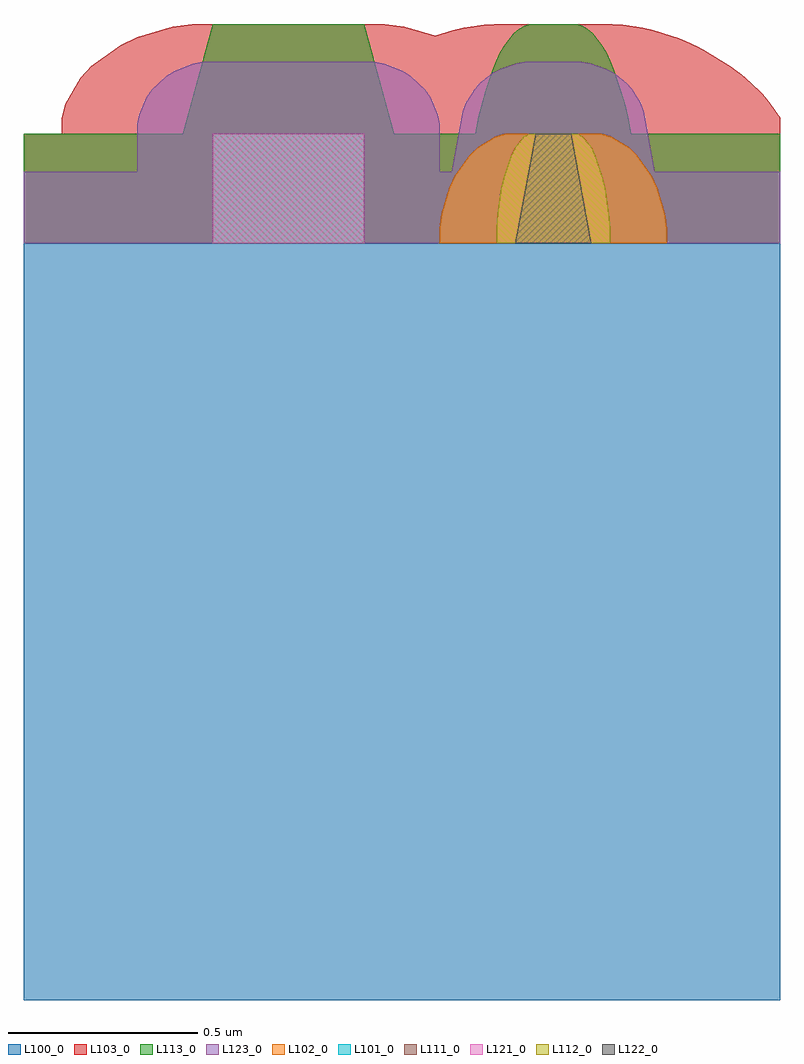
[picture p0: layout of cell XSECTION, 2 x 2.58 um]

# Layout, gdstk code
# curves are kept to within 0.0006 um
import gdstk
lib = gdstk.Library(unit=1e-6, precision=1e-09)
def R(c, l, rs):  # rectangles x0, y0, x1, y1
    for r in rs: c.add(gdstk.rectangle(r[:2], r[2:], *l))
def P(c, l, *ps):  # polygons
    for p in ps: c.add(gdstk.Polygon(p, *l))
L100_0 = (100, 0)
L101_0 = (101, 0)
L102_0 = (102, 0)
L103_0 = (103, 0)
L111_0 = (111, 0)
L112_0 = (112, 0)
L113_0 = (113, 0)
L121_0 = (121, 0)
L122_0 = (122, 0)
L123_0 = (123, 0)

xsection = lib.new_cell('XSECTION')
R(xsection, L100_0, [(0,-2,2,0)])
R(xsection, L101_0, [(0.5,0,0.9,0.29)])
P(xsection, L102_0, [(1.1,0),(1.1,0.04),(1.105,0.078),(1.125,0.146),(1.14,0.177),(1.179,0.233),(1.201,0.254),(1.247,0.282),(1.273,0.29),(1.527,0.29),(1.553,0.282),(1.599,0.254),(1.621,0.233),(1.66,0.177),(1.675,0.146),(1.695,0.078),(1.7,0.04),(1.7,0)])
P(xsection, L103_0, [(0,0),(0,0.29),(0.1,0.29),(0.1,0.33),(0.11,0.368),(0.149,0.436),(0.179,0.468),(0.257,0.524),(0.3,0.545),(0.394,0.573),(0.445,0.58),(0.955,0.58),(1.006,0.573),(1.088,0.549),(1.136,0.564),(1.163,0.57),(1.217,0.578),(1.244,0.58),(1.556,0.58),(1.583,0.578),(1.637,0.57),(1.664,0.564),(1.732,0.542),(1.75,0.535),(1.782,0.52),(1.868,0.468),(1.908,0.438),(1.954,0.394),(1.966,0.38),(2,0.332),(2,0),(1.7,0),(1.7,0.04),(1.695,0.078),(1.675,0.146),(1.66,0.177),(1.621,0.233),(1.599,0.254),(1.553,0.282),(1.528,0.29),(1.272,0.29),(1.247,0.282),(1.201,0.254),(1.179,0.233),(1.14,0.177),(1.125,0.146),(1.105,0.078),(1.1,0.04),(1.1,0),(0.9,0),(0.9,0.29),(0.5,0.29),(0.5,0)])
R(xsection, L111_0, [(0.5,0,0.9,0.29)])
P(xsection, L112_0, [(1.25,0),(1.25,0.04),(1.253,0.079),(1.263,0.146),(1.27,0.176),(1.289,0.232),(1.299,0.253),(1.322,0.282),(1.336,0.29),(1.464,0.29),(1.478,0.282),(1.501,0.253),(1.511,0.232),(1.53,0.176),(1.537,0.146),(1.547,0.079),(1.55,0.04),(1.55,0)])
P(xsection, L113_0, [(0,0),(0,0.29),(0.42,0.29),(0.5,0.58),(0.9,0.58),(0.98,0.29),(1.194,0.29),(1.202,0.333),(1.209,0.363),(1.22,0.401),(1.239,0.457),(1.249,0.483),(1.259,0.504),(1.273,0.527),(1.296,0.556),(1.31,0.568),(1.324,0.576),(1.336,0.58),(1.464,0.58),(1.476,0.576),(1.49,0.568),(1.504,0.556),(1.527,0.527),(1.541,0.504),(1.551,0.483),(1.561,0.457),(1.58,0.401),(1.591,0.363),(1.598,0.333),(1.606,0.29),(2,0.29),(2,0),(1.55,0),(1.55,0.04),(1.547,0.079),(1.537,0.146),(1.53,0.176),(1.511,0.232),(1.501,0.253),(1.478,0.282),(1.464,0.29),(1.336,0.29),(1.322,0.282),(1.299,0.253),(1.289,0.232),(1.27,0.176),(1.263,0.146),(1.253,0.079),(1.25,0.04),(1.25,0),(0.9,0),(0.9,0.29),(0.5,0.29),(0.5,0)])
R(xsection, L121_0, [(0.5,0,0.9,0.29)])
P(xsection, L122_0, [(1.3,0),(1.353,0.29),(1.447,0.29),(1.5,0)])
P(xsection, L123_0, [(0,0),(0,0.19),(0.3,0.19),(0.3,0.316),(0.305,0.34),(0.324,0.385),(0.339,0.406),(0.378,0.443),(0.4,0.457),(0.447,0.475),(0.473,0.48),(0.927,0.48),(0.953,0.475),(1,0.457),(1.022,0.443),(1.061,0.406),(1.076,0.385),(1.095,0.34),(1.1,0.316),(1.1,0.19),(1.132,0.19),(1.161,0.349),(1.169,0.37),(1.192,0.408),(1.207,0.425),(1.24,0.451),(1.261,0.462),(1.303,0.476),(1.326,0.48),(1.474,0.48),(1.497,0.476),(1.539,0.462),(1.56,0.451),(1.593,0.425),(1.608,0.408),(1.631,0.37),(1.639,0.349),(1.668,0.19),(2,0.19),(2,0),(1.5,0),(1.447,0.29),(1.353,0.29),(1.3,0),(0.9,0),(0.9,0.29),(0.5,0.29),(0.5,0)])

lib.write_gds('XSECTION.gds')
